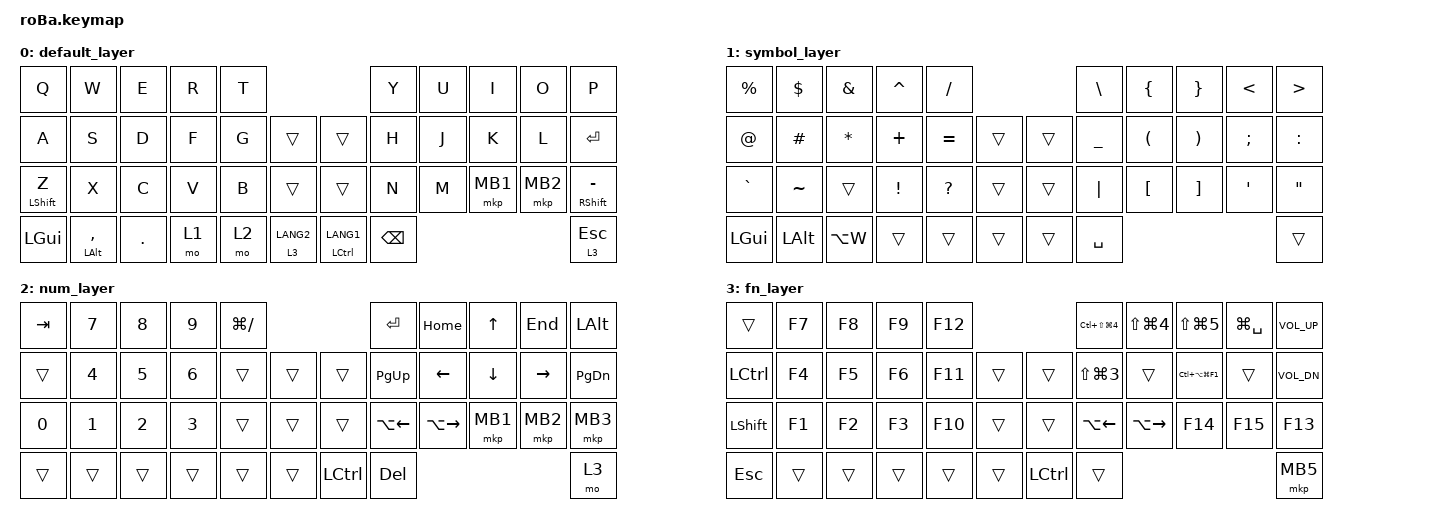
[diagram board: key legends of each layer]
// Keyball39 cheatsheet を roBa へ忠実移植（ultrathink で PDF 全比較済み）
// 修正箇所:
//   L1: QMARK→FSLH, EQUAL→PLUS, 右|\位置調整
//   L2: Q位置にTAB, A位置はtrans
//   L3: 左手F配置を右に1つシフト, Alt→Cmd(LG)に修正

#include <behaviors.dtsi>
#include <dt-bindings/zmk/bt.h>
#include <dt-bindings/zmk/keys.h>
#include <dt-bindings/zmk/pointing.h>
#include <dt-bindings/zmk/outputs.h>

&mt {
    flavor = "balanced";
    quick-tap-ms = <0>;
    tapping-term-ms = <200>;
};

&lt {
    flavor = "hold-preferred";
    quick-tap-ms = <0>;
    tapping-term-ms = <200>;
};

&trackball {
    // AMLは無効。Layer 3 アクティブ時にボール回転がスクロールになる
    scroll-layers = <3>;
};

/ {
    combos {
        compatible = "zmk,combos";

        // Q + P + B 同時押し → 現在プロファイルのBluetooth情報をクリア
        // (BはmodtapではないのでZと違って安全。Layer 0 のみで有効)
        combo_bt_clr {
            bindings = <&bt BT_CLR>;
            key-positions = <0 9 26>;
            timeout-ms = <100>;
            require-prior-idle-ms = <1000>;
            layers = <0>;
        };
    };

    keymap {
        compatible = "zmk,keymap";

        // =========================================================
        // Layer 0  (Keyball39 Layer 0)
        // =========================================================
        default_layer {
            bindings = <
&kp Q               &kp W         &kp E         &kp R           &kp T                                                  &kp Y           &kp U         &kp I           &kp O           &kp P
&kp A               &kp S         &kp D         &kp F           &kp G         &trans                   &trans           &kp H           &kp J         &kp K           &kp L           &kp ENTER
&mt LSHFT Z         &kp X         &kp C         &kp V           &kp B         &trans                   &trans           &kp N           &kp M         &mkp MB1        &mkp MB2        &mt RSHFT MINUS
&kp LGUI            &mt LALT COMMA &kp DOT      &mo 1           &mo 2         &lt 3 LANG2              &mt LCTRL LANG1  &kp BSPC                                                      &lt 3 ESC
            >;
        };

        // =========================================================
        // Layer 1 - Symbols  (Keyball39 Layer 1)
        // =========================================================
        symbol_layer {
            bindings = <
&kp PRCNT           &kp DLLR      &kp AMPS      &kp CARET       &kp FSLH                                               &kp BSLH        &kp LBRC      &kp RBRC        &kp LT          &kp GT
&kp AT              &kp HASH      &kp ASTRK     &kp PLUS        &kp EQUAL     &trans                   &trans           &kp UNDER       &kp LPAR      &kp RPAR        &kp SEMI        &kp COLON
&kp GRAVE           &kp TILDE     &trans        &kp EXCL        &kp QMARK     &trans                   &trans           &kp PIPE        &kp LBKT      &kp RBKT        &kp SQT         &kp DQT
&kp LGUI            &kp LALT      &kp LA(W)     &trans          &trans        &trans                   &trans           &kp SPACE                                                     &trans
            >;
        };

        // =========================================================
        // Layer 2 - Num/Nav/Mouse  (Keyball39 Layer 2)
        // =========================================================
        num_layer {
            bindings = <
&kp TAB             &kp N7        &kp N8        &kp N9          &kp LG(FSLH)                                           &kp ENTER       &kp HOME      &kp UP          &kp END         &kp LALT
&trans              &kp N4        &kp N5        &kp N6          &trans        &trans                   &trans           &kp PG_UP       &kp LEFT      &kp DOWN        &kp RIGHT       &kp PG_DN
&kp N0              &kp N1        &kp N2        &kp N3          &trans        &trans                   &trans           &kp LA(LEFT)    &kp LA(RIGHT) &mkp MB1        &mkp MB2        &mkp MB3
&trans              &trans        &trans        &trans          &trans        &trans                   &kp LCTRL        &kp DEL                                                       &mo 3
            >;
        };

        // =========================================================
        // Layer 3 - Function  (Keyball39 Layer 3) - Mac用にAlt→Cmd修正
        // =========================================================
        fn_layer {
            bindings = <
&trans              &kp F7        &kp F8        &kp F9          &kp F12                                                &kp LC(LS(LG(N4))) &kp LS(LG(N4)) &kp LS(LG(N5)) &kp LG(SPACE) &kp C_VOL_UP
&kp LCTRL           &kp F4        &kp F5        &kp F6          &kp F11       &trans                   &trans           &kp LS(LG(N3)) &trans         &kp LC(LA(LG(F1))) &trans      &kp C_VOL_DN
&kp LSHFT           &kp F1        &kp F2        &kp F3          &kp F10       &trans                   &trans           &kp LA(LEFT)    &kp LA(RIGHT) &kp F14         &kp F15         &kp F13
&kp ESC             &trans        &trans        &trans          &trans        &trans                   &kp LCTRL        &trans                                                        &mkp MB5
            >;
        };
    };
};
